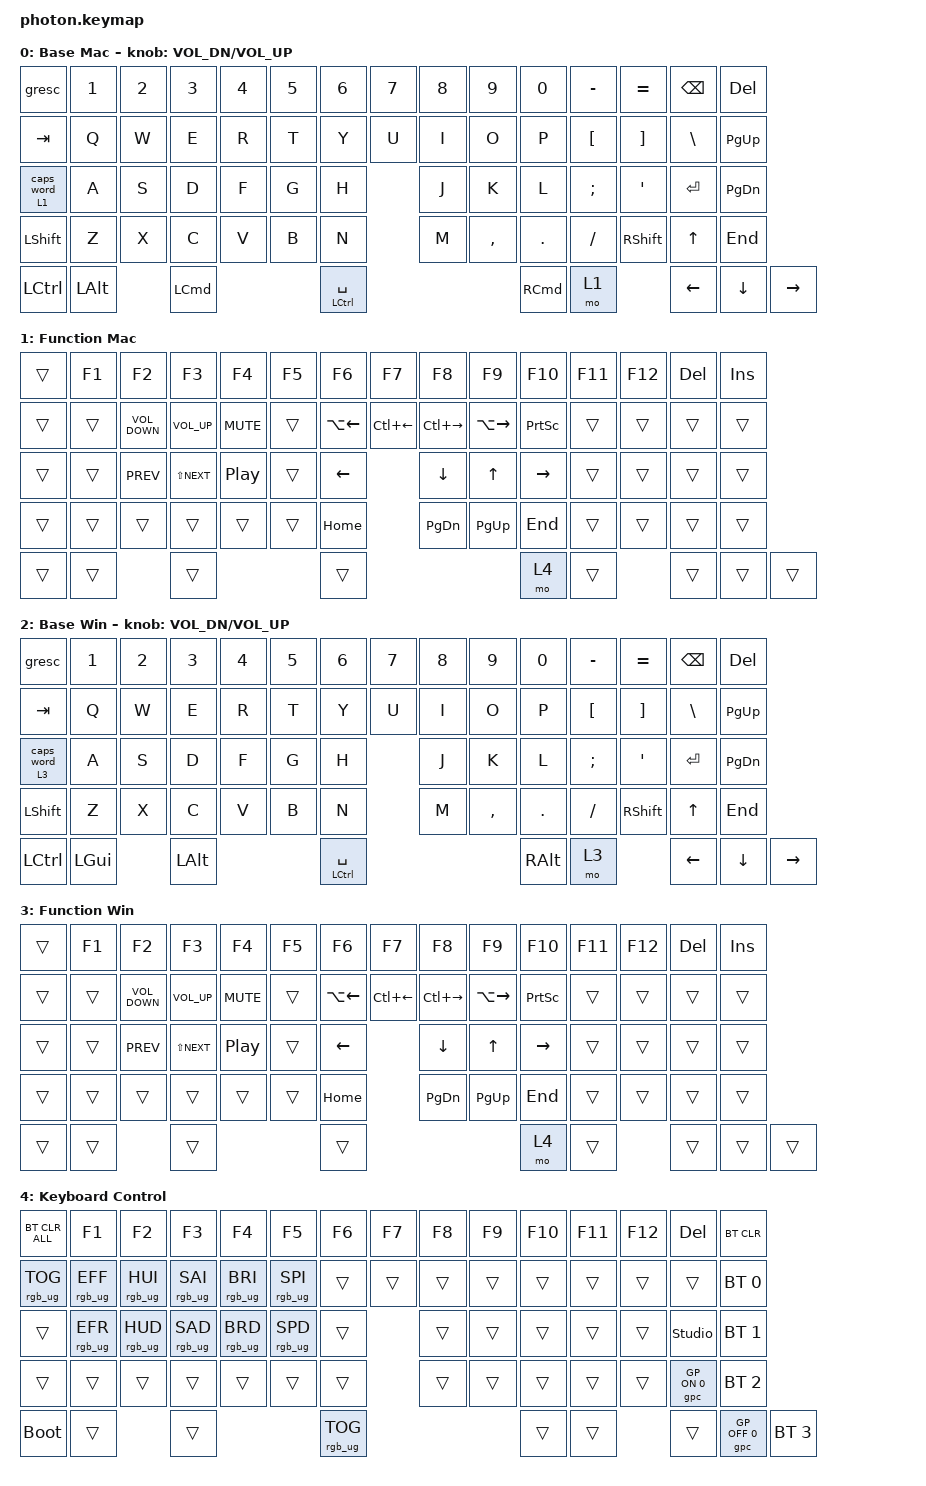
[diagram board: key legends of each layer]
/*
 * Copyright (c) 2024 CannonKeys LLC
 *
 * SPDX-License-Identifier: MIT
 */

#include <behaviors.dtsi>
#include <dt-bindings/zmk/bt.h>
#include <dt-bindings/zmk/keys.h>
#include <dt-bindings/zmk/rgb.h>

/ {
    behaviors {
        mt: mod_tap {
            compatible = "zmk,behavior-hold-tap";
            display-name = "Mod-Tap";
            bindings = <&kp>, <&kp>;

            #binding-cells = <2>;
            tapping-term-ms = <200>;
            flavor = "balanced";
        };

        lcw: layer_caps_word {
            compatible = "zmk,behavior-hold-tap";
            display-name = "Layer/Caps Word";
            bindings = <&mo>, <&caps_word>;

            #binding-cells = <2>;
            tapping-term-ms = <200>;
            quick-tap-ms = <0>;
            flavor = "balanced";
        };

        gresc: grave_escape {
            compatible = "zmk,behavior-mod-morph";
            display-name = "Grave Escape";
            bindings = <&kp ESC>, <&kp GRAVE>;

            #binding-cells = <0>;
            mods = <(MOD_LGUI|MOD_LSFT|MOD_RGUI|MOD_RSFT)>;
            keep-mods = <(MOD_LSFT|MOD_RSFT)>;
        };
    };

    keymap {
        compatible = "zmk,keymap";

        mac_base_layer {
            display-name = "Base Mac";
            bindings = <
&gresc      &kp N1    &kp N2  &kp N3    &kp N4  &kp N5  &kp N6           &kp N7  &kp N8  &kp N9     &kp N0    &kp MINUS  &kp EQUAL  &kp BSPC            &kp DEL
&kp TAB     &kp Q     &kp W   &kp E     &kp R   &kp T   &kp Y            &kp U   &kp I   &kp O      &kp P     &kp LBKT   &kp RBKT             &kp BSLH  &kp PG_UP
&lcw 1 0    &kp A     &kp S   &kp D     &kp F   &kp G   &kp H            &kp J   &kp K   &kp L      &kp SEMI  &kp SQT                         &kp RET   &kp PG_DN
&kp LSHFT             &kp Z   &kp X     &kp C   &kp V   &kp B            &kp N   &kp M   &kp COMMA  &kp DOT   &kp FSLH   &kp RSHFT            &kp UP    &kp END
&kp LCTRL   &kp LALT          &kp LCMD                  &mt LCTRL SPACE                             &kp RCMD  &mo 1                 &kp LEFT  &kp DOWN  &kp RIGHT
            >;

            sensor-bindings = <&inc_dec_kp C_VOL_DN C_VOL_UP>;
        };

        mac_function_layer {
            display-name = "Function Mac";
            bindings = <
&trans  &kp F1  &kp F2             &kp F3           &kp F4      &kp F5  &kp F6        &kp F7        &kp F8         &kp F9         &kp F10    &kp F11  &kp F12  &kp DEL          &kp INS
&trans  &trans  &kp C_VOLUME_DOWN  &kp C_VOLUME_UP  &kp K_MUTE  &trans  &kp LA(LEFT)  &kp LC(LEFT)  &kp LC(RIGHT)  &kp LA(RIGHT)  &kp PSCRN  &trans   &trans            &trans  &trans
&trans  &trans  &kp C_PREV         &kp LS(C_NEXT)   &kp C_PP    &trans  &kp LEFT      &kp DOWN      &kp UP         &kp RIGHT      &trans     &trans                     &trans  &trans
&trans          &trans             &trans           &trans      &trans  &trans        &kp HOME      &kp PG_DN      &kp PG_UP      &kp END    &trans   &trans            &trans  &trans
&trans  &trans                     &trans                               &trans                                                    &mo 4      &trans            &trans   &trans  &trans
            >;
        };

        windows_base_layer {
            display-name = "Base Win";
            bindings = <
&gresc      &kp N1    &kp N2  &kp N3    &kp N4  &kp N5  &kp N6           &kp N7  &kp N8  &kp N9     &kp N0    &kp MINUS  &kp EQUAL  &kp BSPC            &kp DEL
&kp TAB     &kp Q     &kp W   &kp E     &kp R   &kp T   &kp Y            &kp U   &kp I   &kp O      &kp P     &kp LBKT   &kp RBKT             &kp BSLH  &kp PG_UP
&lcw 3 0    &kp A     &kp S   &kp D     &kp F   &kp G   &kp H            &kp J   &kp K   &kp L      &kp SEMI  &kp SQT                         &kp RET   &kp PG_DN
&kp LSHFT             &kp Z   &kp X     &kp C   &kp V   &kp B            &kp N   &kp M   &kp COMMA  &kp DOT   &kp FSLH   &kp RSHFT            &kp UP    &kp END
&kp LCTRL   &kp LGUI          &kp LALT                  &mt LCTRL SPACE                             &kp RALT  &mo 3                 &kp LEFT  &kp DOWN  &kp RIGHT
            >;

            sensor-bindings = <&inc_dec_kp C_VOL_DN C_VOL_UP>;
        };

        windows_control_layer {
            display-name = "Function Win";
            bindings = <
&trans  &kp F1  &kp F2             &kp F3           &kp F4      &kp F5  &kp F6        &kp F7        &kp F8         &kp F9         &kp F10    &kp F11  &kp F12  &kp DEL          &kp INS
&trans  &trans  &kp C_VOLUME_DOWN  &kp C_VOLUME_UP  &kp K_MUTE  &trans  &kp LA(LEFT)  &kp LC(LEFT)  &kp LC(RIGHT)  &kp LA(RIGHT)  &kp PSCRN  &trans   &trans            &trans  &trans
&trans  &trans  &kp C_PREV         &kp LS(C_NEXT)   &kp C_PP    &trans  &kp LEFT      &kp DOWN      &kp UP         &kp RIGHT      &trans     &trans                     &trans  &trans
&trans          &trans             &trans           &trans      &trans  &trans        &kp HOME      &kp PG_DN      &kp PG_UP      &kp END    &trans   &trans            &trans  &trans
&trans  &trans                     &trans                               &trans                                                    &mo 4      &trans            &trans   &trans  &trans
            >;
        };

        control_layer {
            display-name = "Keyboard Control";
            bindings = <
&bt BT_CLR_ALL   &kp F1           &kp F2           &kp F3           &kp F4           &kp F5           &kp F6           &kp F7  &kp F8  &kp F9  &kp F10  &kp F11  &kp F12  &kp DEL                  &bt BT_CLR
&rgb_ug RGB_TOG  &rgb_ug RGB_EFF  &rgb_ug RGB_HUI  &rgb_ug RGB_SAI  &rgb_ug RGB_BRI  &rgb_ug RGB_SPI  &trans           &trans  &trans  &trans  &trans   &trans   &trans            &trans          &bt BT_SEL 0
&trans           &rgb_ug RGB_EFR  &rgb_ug RGB_HUD  &rgb_ug RGB_SAD  &rgb_ug RGB_BRD  &rgb_ug RGB_SPD  &trans           &trans  &trans  &trans  &trans   &trans                     &studio_unlock  &bt BT_SEL 1
&trans                            &trans           &trans           &trans           &trans           &trans           &trans  &trans  &trans  &trans   &trans   &trans            &gpc GP_ON 0    &bt BT_SEL 2
&bootloader      &trans                            &trans                                             &rgb_ug RGB_TOG                          &trans   &trans            &trans   &gpc GP_OFF 0   &bt BT_SEL 3
            >;
        };
    };
};
